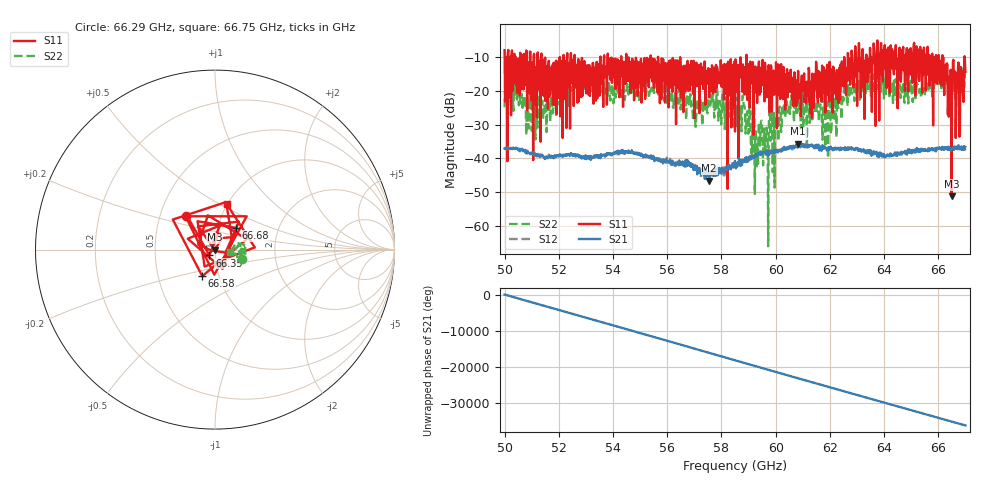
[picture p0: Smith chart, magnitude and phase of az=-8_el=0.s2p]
!Created with skrf (http://scikit-rf.org).
# GHz S RI R 50.0
!freq ReS11 ImS11 ReS21 ImS21 ReS12 ImS12 ReS22 ImS22
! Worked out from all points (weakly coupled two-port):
!   1001 points, 50 GHz to 67 GHz, reference 50 ohm
!   highest |S21| = -35.70 dB at 60.83 GHz (marker M1); lowest = -46.6 dB at 57.55 GHz (marker M2)
!   lowest |S11| = -51.3 dB at 66.49 GHz (marker M3), VSWR 1.01, Z = 49.8 - j0.119 ohm
!   |S11| at or under -10 dB: 52.59 GHz to 53.53 GHz (948.5 MHz wide, 1.79 % of centre); 55.66 GHz to 58.92 GHz (3.262 GHz wide, 5.69 % of centre); 58.93 GHz to 62.53 GHz (3.6 GHz wide, 5.93 % of centre) (the widest 3 of 63)
!   |S22| runs from -66.1 to -13.2 dB; largest |S21 - S12| = 0.0023
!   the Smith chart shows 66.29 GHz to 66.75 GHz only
!   S11 on the Smith chart (normalised r, x): 66.29 GHz: 0.68, +0.27; 66.35 GHz: 0.94, -0.06; 66.58 GHz: 0.83, -0.25; 66.68 GHz: 1.23, +0.30; 66.75 GHz: 0.99, +0.54
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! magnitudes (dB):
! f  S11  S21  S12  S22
! 50 GHz  -7.9  -37.1  -37.3  -24.9
! 50.15 GHz  -22.1  -37.3  -37.2  -20.9
! 51.14 GHz  -13.6  -38.6  -38.7  -34.5
! 52.84 GHz  -11.7  -39.8  -40.1  -19.8
! 55.68 GHz  -13.4  -40.1  -40.6  -21.1
! 57.55 GHz  -21.9  -46.6  -44.2  -20.5
! 58.5 GHz  -32.1  -40.9  -41.3  -24.0
! 59.64 GHz  -18.0  -38.0  -38.2  -33.0
! 60.34 GHz  -15.0  -37.4  -37.1  -25.1
! 60.83 GHz  -14.1  -35.7  -35.9  -22.7
! 61.34 GHz  -28.0  -36.4  -36.2  -27.1
! 61.88 GHz  -15.4  -37.0  -37.6  -24.0
! 62.61 GHz  -16.5  -37.3  -36.9  -19.7
! 64.18 GHz  -11.5  -39.0  -39.0  -17.7
! 66.29 GHz  -12.1  -36.9  -36.9  -16.1
! 66.35 GHz  -27.0  -36.8  -37.0  -15.5
! 66.44 GHz  -18.8  -37.6  -36.8  -16.4
! 66.49 GHz  -51.3  -37.3  -37.2  -15.4
! 66.58 GHz  -15.7  -37.5  -36.7  -15.9
! 66.68 GHz  -15.4  -36.7  -36.5  -17.0
! 66.75 GHz  -11.6  -36.6  -36.1  -21.2
! 67 GHz  -14.4  -36.7  -36.8  -14.4
